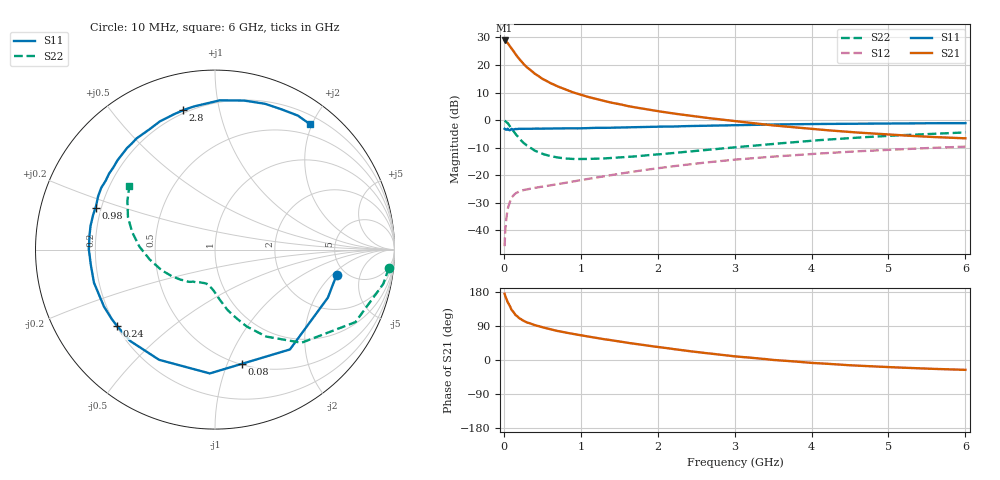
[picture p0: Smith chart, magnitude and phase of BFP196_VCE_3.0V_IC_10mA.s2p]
! Infineon Technologies  Discrete & RF Semiconductors
! BFP196
! VCE = 3.0 V,  IC =  10mA
! Common Emitter S-Parameters:  Jan 2016
# GHz  S  MA  R  50
!  f  S11  S21  S12  S22
! GHz  MAG  ANG  MAG  ANG  MAG  ANG  MAG  ANG
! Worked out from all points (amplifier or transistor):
!   210 points, 10 MHz to 6 GHz, reference 50 ohm
!   highest |S21| = 28.9 dB at 10 MHz (marker M1)
!   |S21| within 3 dB of that: start of sweep to 104.4 MHz
!   unconditionally stable (mu >= 1): 872.9 MHz to 3.399 GHz
!   at 185 MHz: K = 0.31, MSG = 24.5 dB, |S12| = -26.2 dB
!   at 1.52 GHz: K = 1.15, MAG = 10.2 dB, |S12| = -19.5 dB
!   at 6 GHz: K = 0.97, MSG = 1.5 dB, |S12| = -9.7 dB
!   S11 on the Smith chart (normalised r, x): 10 MHz: 4.22, -2.27; 80 MHz: 0.51, -1.13; 240 MHz: 0.20, -0.33; 980 MHz: 0.18, +0.17; 2.8 GHz: 0.18, +0.78; 6 GHz: 0.33, +1.97
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0.01  0.6923 -11.7  27.91 175.0  0.0051 87.7  0.9746 -6.0
0.02  0.6834 -23.1  27.28 168.0  0.0105 81.0  0.9564 -11.6
0.05  0.6956 -53.1  25.09 152.6  0.0242 66.6  0.8806 -27.3
0.08  0.6538 -76.8  21.81 141.7  0.0329 54.9  0.7657 -38.1
0.1  0.6905 -92.4  20.18 132.6  0.0391 50.1  0.7083 -47.1
0.15  0.6885 -116.9  15.84 119.1  0.0463 41.6  0.5624 -59.5
0.2  0.6947 -132.9  12.89 110.4  0.0503 36.5  0.4632 -67.6
0.24  0.6921 -142.2  11.07 105.4  0.0525 34.4  0.405 -72.2
0.3  0.6953 -152.9  9.083 99.1  0.0549 33.3  0.3436 -78.3
0.4  0.6991 -164.7  6.987 92.1  0.0584 33.1  0.2783 -84.8
0.5  0.6971 -173.0  5.625 86.3  0.0614 33.4  0.2426 -89.5
0.6  0.703 179.8  4.736 81.1  0.0649 35.3  0.2211 -93.6
0.7  0.7036 173.6  4.082 76.5  0.0683 36.9  0.2081 -97.5
0.98  0.7057 160.6  2.934 66.0  0.0799 40.3  0.1953 -105.3
1.02  0.7077 158.9  2.821 64.6  0.0816 40.8  0.1955 -106.4
1.4  0.7262 144.4  2.063 52.1  0.0997 43.5  0.2048 -116.6
2.02  0.7581 124.6  1.437 33.9  0.1341 43.1  0.2381 -133.3
2.8  0.7968 103.0  1.03 14.3  0.1787 37.7  0.2997 -153.9
3.1  0.8092 96.3  0.922 8.0  0.1954 34.5  0.3275 -161.7
4.1  0.8474 77.3  0.671 -8.7  0.246 23.9  0.4306 175.6
5.1  0.8668 63.2  0.535 -19.6  0.2916 12.7  0.5245 157.8
6  0.8767 52.8  0.465 -26.0  0.328 2.0  0.595 143.3
